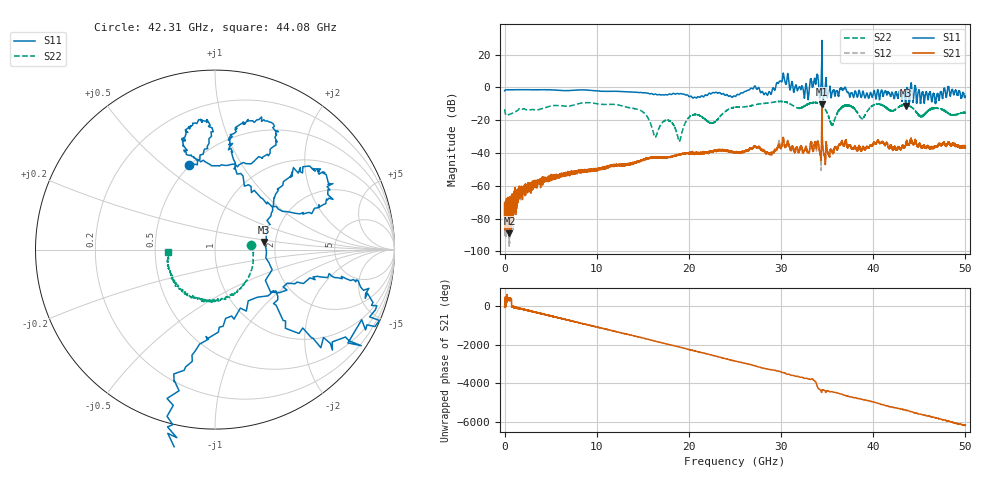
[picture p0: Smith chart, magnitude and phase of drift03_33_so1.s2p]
!Created with skrf (http://scikit-rf.org).
# Hz S RI R 50.0
!freq ReS11 ImS11 ReS21 ImS21 ReS12 ImS12 ReS22 ImS22
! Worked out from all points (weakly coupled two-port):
!   10000 points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, 5.3 MHz to 50 GHz, reference 50 ohm
!   highest |S21| = -10.25 dB at 34.43 GHz (marker M1); lowest = -89.0 dB at 535.3 MHz (marker M2)
!   lowest |S11| = -11.2 dB at 43.52 GHz (marker M3), VSWR 1.77, Z = 87.2 + j8.08 ohm
!   |S11| at or under -10 dB: 43.49434 GHz to 43.54019 GHz (45.85 MHz wide, 0.105 % of centre)
!   |S22| runs from -32.8 to -8.4 dB; largest |S21 - S12| = 0.094
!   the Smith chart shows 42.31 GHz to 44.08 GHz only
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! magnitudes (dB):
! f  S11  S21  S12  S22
! 5.3 MHz  -2.1  -70.7  -84.1  -13.3
! 535.3 MHz  -1.4  -89.0  -95.4  -16.4
! 3.06 GHz  -1.4  -60.4  -59.5  -13.4
! 8.34 GHz  -1.5  -51.3  -50.9  -9.5
! 14.55 GHz  -3.1  -45.2  -45.1  -13.5
! 16.67 GHz  -4.4  -42.5  -42.7  -26.1
! 17.81 GHz  -4.2  -42.6  -42.5  -20.1
! 18.98 GHz  -3.9  -41.0  -41.0  -32.8
! 20.29 GHz  -5.6  -39.9  -40.0  -17.0
! 22.56 GHz  -3.1  -39.3  -39.4  -21.9
! 25.01 GHz  -5.5  -39.8  -39.9  -12.1
! 28.72 GHz  -2.5  -40.4  -40.4  -9.3
! 30.14 GHz  4.4  -34.0  -33.9  -8.5
! 32.74 GHz  2.0  -37.0  -36.9  -10.7
! 33.34 GHz  2.6  -35.0  -35.1  -9.3
! 34.43 GHz  28.7  -10.3  -12.4  -10.8
! 35.54 GHz  -3.1  -39.0  -38.9  -23.2
! 36.96 GHz  0.1  -33.3  -33.1  -10.9
! 38.76 GHz  -5.4  -38.2  -38.1  -19.0
! 41.67 GHz  -3.0  -36.6  -36.7  -13.2
! 43.52 GHz  -11.2  -35.0  -35.0  -10.8
! 50 GHz  -5.2  -36.7  -36.4  -15.4
